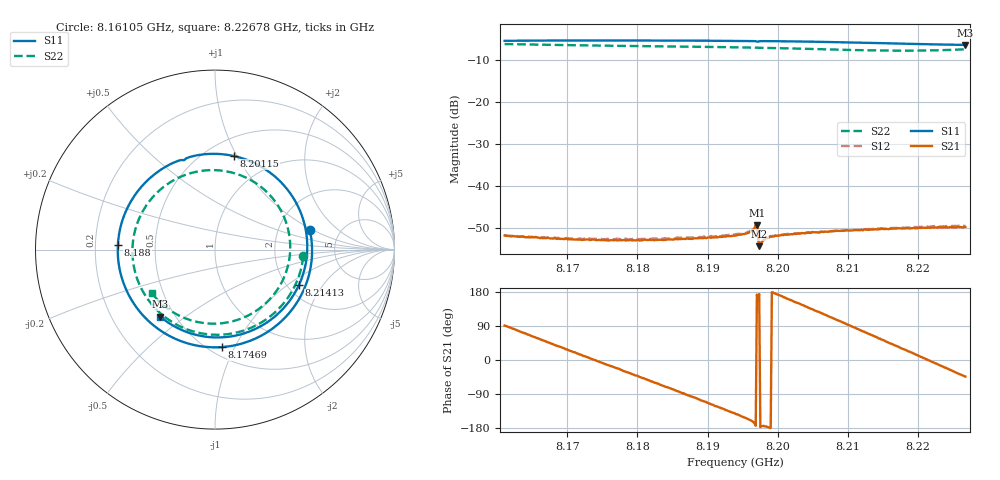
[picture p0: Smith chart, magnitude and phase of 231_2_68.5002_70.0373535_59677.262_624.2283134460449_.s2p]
#  HZ  S  RI  R  50.00
! Rohde & Schwarz Vector Network Analyzer
! Rohde-Schwarz,ZNB20-2Port,1311601062101988,3.16
! Created: UTC 3/20/2024, 4:58:57 PM
! freq[Hz]  re:S11  im:S11  re:S21  im:S21  re:S12  im:S12  re:S22  im:S22
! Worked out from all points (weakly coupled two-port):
!   401 points, 8.16105 GHz to 8.22678 GHz, reference 50 ohm
!   highest |S21| = -49.39 dB at 8.19704 GHz (marker M1); lowest = -54.4 dB at 8.19737 GHz (marker M2)
!   lowest |S11| = -6.3 dB at 8.22678 GHz (marker M3), VSWR 2.86, Z = 20.8 - j20.2 ohm
!   |S11| at or under -10 dB: nowhere
!   |S22| runs from -7.7 to -6.1 dB; largest |S21 - S12| = 0.00023
!   S11 on the Smith chart (normalised r, x): 8.16105 GHz: 3.03, +0.92; 8.17469 GHz: 0.58, -0.89; 8.188 GHz: 0.30, +0.02; 8.20115 GHz: 0.67, +0.97; 8.21413 GHz: 2.29, -1.23; 8.22678 GHz: 0.42, -0.40
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8.161054e9  0.5286 0.1081  -4.19e-05 0.00256  -6.94e-05 0.00256  0.4918 -0.0377
8.166312e9  0.4886 -0.2368  0.00144 0.00193  0.00144 0.00196  0.3653 -0.3189
8.172063e9  0.2136 -0.5008  0.00221 0.000511  0.00227 0.0005  0.0746 -0.4704
8.174692e9  0.0401 -0.5429  0.00224 -0.00023  0.00232 -0.000212  -0.0752 -0.4669
8.1788e9  -0.2342 -0.4911  0.00186 -0.00126  0.00191 -0.0013  -0.2848 -0.3713
8.183072e9  -0.4538 -0.2986  0.00101 -0.00204  0.00104 -0.00212  -0.4264 -0.1818
8.188002e9  -0.5409 0.0279  -0.000345 -0.00234  -0.000432 -0.00241  -0.4501 0.0876
8.190959e9  -0.4902 0.2275  -0.00123 -0.00209  -0.00128 -0.00215  -0.3875 0.2386
8.193917e9  -0.3677 0.3938  -0.00198 -0.0016  -0.00211 -0.00159  -0.275 0.3578
8.19671e9  -0.1983 0.4966  -0.00308 -0.000693  -0.0032 -0.00055  -0.1347 0.4261
8.197039e9  -0.1749 0.4982  -0.00336 0.00044  -0.00342 0.000636  -0.1169 0.4308
8.197368e9  -0.1623 0.507  -0.0019 0.0002  -0.00192 0.000302  -0.0989 0.4347
8.197696e9  -0.1391 0.5164  -0.00208 -0.000194  -0.00215 -0.00014  -0.0805 0.4378
8.198682e9  -0.0693 0.5301  -0.00239 -9.49e-05  -0.00246 2.66e-05  -0.0249 0.4428
8.201147e9  0.1044 0.5215  -0.00251 0.000735  -0.0025 0.000867  0.1136 0.424
8.204926e9  0.3405 0.4015  -0.00195 0.00201  -0.00193 0.00207  0.298 0.3115
8.209691e9  0.5053 0.1118  -0.000319 0.00292  -0.000236 0.00294  0.4165 0.0602
8.214128e9  0.4669 -0.1989  0.0015 0.00262  0.00161 0.00261  0.3604 -0.2026
8.215935e9  0.3974 -0.3087  0.00218 0.00215  0.00229 0.00214  0.29 -0.2923
8.221357e9  0.0589 -0.4874  0.00315 4.78e-05  0.00328 -9.51e-05  -0.0331 -0.4121
8.223986e9  -0.1293 -0.4686  0.00301 -0.00111  0.00304 -0.00132  -0.2036 -0.366
8.22678e9  -0.3058 -0.3728  0.00235 -0.00224  0.0023 -0.00245  -0.3505 -0.2444
